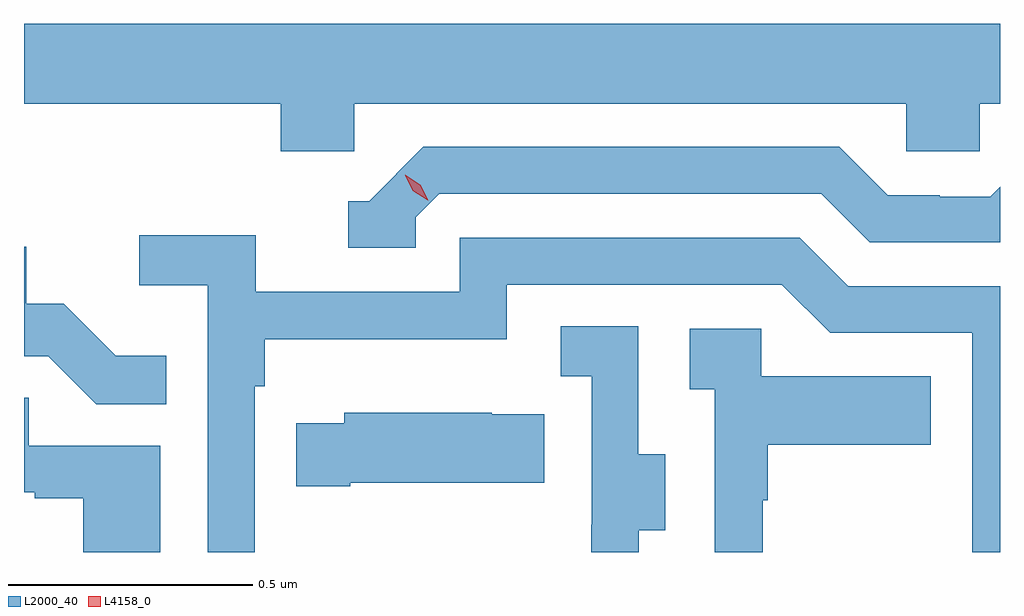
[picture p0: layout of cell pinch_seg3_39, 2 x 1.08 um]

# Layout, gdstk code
import gdstk
lib = gdstk.Library(unit=1e-6, precision=1e-09)
def R(c, l, rs):  # rectangles x0, y0, x1, y1
    for r in rs: c.add(gdstk.rectangle(r[:2], r[2:], *l))
def P(c, l, *ps):  # polygons
    for p in ps: c.add(gdstk.Polygon(p, *l))
L2000_40 = (2000, 40)
L4158_0 = (4158, 0)

pinch_seg3_39 = lib.new_cell('pinch_seg3_39')
R(pinch_seg3_39, L2000_40, [(1106.924,742.62,1107.021,742.621)])
P(pinch_seg3_39, L2000_40, [(1105.848,743.54),(1106.979,743.54),(1106.979,743.442),(1107.129,743.442),(1107.129,743.54),(1107.171,743.54),(1107.171,743.704),(1105.171,743.704),(1105.171,743.54),(1105.697,743.54),(1105.697,743.442),(1105.848,743.442)],
  [(1105.974,743.307),(1106.022,743.355),(1106.805,743.355),(1106.904,743.256),(1107.171,743.256),(1107.171,743.369),(1107.151,743.349),(1107.048,743.349),(1107.048,743.352),(1106.941,743.352),(1106.842,743.451),(1105.989,743.451),(1105.878,743.34),(1105.835,743.34),(1105.835,743.244),(1105.974,743.244)],
  [(1105.644,742.961),(1105.664,742.961),(1105.664,743.057),(1106.16,743.057),(1106.16,743.169),(1106.724,743.169),(1106.823,743.07),(1107.114,743.07),(1107.114,742.62),(1107.171,742.62),(1107.171,743.166),(1106.86,743.166),(1106.761,743.265),(1106.064,743.265),(1106.064,743.154),(1105.646,743.154),(1105.646,743.27),(1105.407,743.27),(1105.407,743.168),(1105.548,743.168),(1105.548,742.62),(1105.644,742.62)],
  [(1105.463,743.023),(1105.359,743.023),(1105.252,743.13),(1105.176,743.13),(1105.176,743.247),(1105.171,743.247),(1105.171,743.022),(1105.221,743.022),(1105.319,742.924),(1105.463,742.924)],
  [(1106.431,742.666),(1106.485,742.666),(1106.485,742.821),(1106.43,742.821),(1106.43,743.084),(1106.271,743.084),(1106.271,742.981),(1106.334,742.981),(1106.334,742.677),(1106.333,742.677),(1106.333,742.62),(1106.431,742.62)],
  [(1106.685,742.727),(1106.695,742.727),(1106.695,742.841),(1107.029,742.841),(1107.029,742.981),(1106.682,742.981),(1106.682,743.079),(1106.535,743.079),(1106.535,742.955),(1106.586,742.955),(1106.586,742.62),(1106.685,742.62)],
  [(1105.45,742.839),(1105.181,742.839),(1105.181,742.937),(1105.171,742.937),(1105.171,742.743),(1105.193,742.743),(1105.193,742.731),(1105.292,742.731),(1105.292,742.62),(1105.45,742.62)],
  [(1105.84,742.763),(1106.237,742.763),(1106.237,742.903),(1106.129,742.903),(1106.129,742.906),(1105.827,742.906),(1105.827,742.885),(1105.729,742.885),(1105.729,742.756),(1105.84,742.756)])
P(pinch_seg3_39, L4158_0, [(1105.998,743.342),(1105.968,743.361),(1105.952,743.393),(1105.952,743.394),(1105.952,743.394),(1105.983,743.374),(1105.999,743.342),(1105.999,743.342)])

lib.write_gds('pinch_seg3_39.gds')
